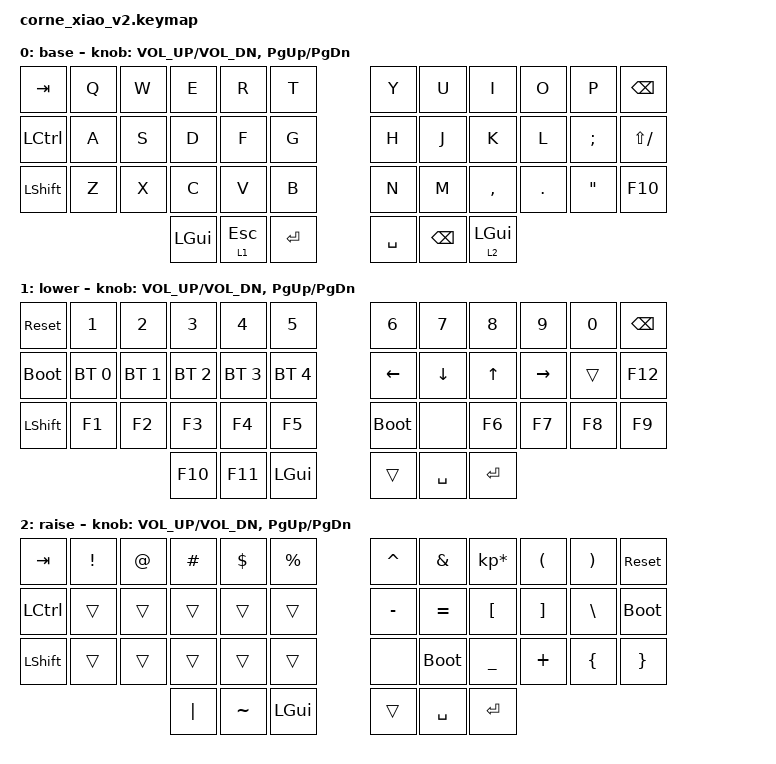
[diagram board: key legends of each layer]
#include <behaviors.dtsi>
#include <dt-bindings/zmk/bt.h>
#include <dt-bindings/zmk/keys.h>

/ {
    combos {
        compatible = "zmk,combos";

        combo_studio_unlock {
            timeout-ms = <50>;
            key-positions = <0 1>;
            bindings = <&studio_unlock>;
        };
    };
};

/ {
    keymap {
        compatible = "zmk,keymap";

        default_layer {
            display-name = "base";
            sensor-bindings = <&inc_dec_kp C_VOL_UP C_VOL_DN &inc_dec_kp PG_UP PG_DN>;

            // -------------------------------------------------------------------------------------------------
            // |  TAB |  Q  |  W  |  E  |  R  |  T  |                    |  Y  |  U   |  I  |  O  |  P  | BKSP |
            // | CTRL |  A  |  S  |  D  |  F  |  G  |                    |  H  |  J   |  K  |  L  |  ;  |  '   |
            // | SHFT |  Z  |  X  |  C  |  V  |  B  |  MUTE  |  |        |  N  |  M   |  ,  |  .  |  /  | ESC  |
            //                    | GUI | LWR | SPC |                    | ENT | RSE  | ALT |

            bindings = <
&kp TAB    &kp Q  &kp W  &kp E         &kp R         &kp T      &kp Y      &kp U          &kp I           &kp O       &kp P              &kp BSPC
&kp LCTRL  &kp A  &kp S  &kp D         &kp F         &kp G      &kp H      &kp J          &kp K           &kp L       &kp SEMI           &kp LS(SLASH)
&kp LSHFT  &kp Z  &kp X  &kp C         &kp V         &kp B      &kp N      &kp M          &kp COMMA       &kp PERIOD  &kp DOUBLE_QUOTES  &kp F10
                         &kp LEFT_GUI  &lt 1 ESCAPE  &kp RET    &kp SPACE  &kp BACKSPACE  &lt 2 LEFT_GUI
            >;
        };

        lower_layer {
            display-name = "lower";
            sensor-bindings = <&inc_dec_kp C_VOL_UP C_VOL_DN &inc_dec_kp PG_UP PG_DN>;

            // ------------------------------------------------------------------------------------------------
            // |  TAB |  1  |  2  |  3  |  4  |  5  |                    |  6  |  7  |  8  |  9  |  0  | BKSP |
            // | BTCLR| BT1 | BT2 | BT3 | BT4 | BT5 |                    | LFT | DWN |  UP | RGT |     |  F12 |
            // | SHFT | F1  | F2  | F3  | F4  | F5  |  boot  |  |        |  F6 | F7  | F8  | F9  | F10 |  F11 |
            //                    | GUI |     | SPC |                    | ENT |     | ALT |

            bindings = <
&sys_reset   &kp N1        &kp N2        &kp N3        &kp N4        &kp N5          &kp N6       &kp N7     &kp N8   &kp N9     &kp N0  &kp BSPC
&bootloader  &bt BT_SEL 0  &bt BT_SEL 1  &bt BT_SEL 2  &bt BT_SEL 3  &bt BT_SEL 4    &kp LEFT     &kp DOWN   &kp UP   &kp RIGHT  &trans  &kp F12
&kp LSHFT    &kp F1        &kp F2        &kp F3        &kp F4        &kp F5          &bootloader  &none      &kp F6   &kp F7     &kp F8  &kp F9
                                         &kp F10       &kp F11       &kp LGUI        &trans       &kp SPACE  &kp RET
            >;
        };

        raise_layer {
            display-name = "raise";
            sensor-bindings = <&inc_dec_kp C_VOL_UP C_VOL_DN &inc_dec_kp PG_UP PG_DN>;

            // ------------------------------------------------------------------------------------------------
            // |  TAB |  !  |  @  |  #  |  $  |  %  |                    |  ^  |  &  |  *  |  (  |  )  | BKSP |
            // | CTRL |     |     |     |     |     |                    |  -  |  =  |  [  |  ]  |  \  |  `   |
            // | SHFT |     |     |     |     |     |        |  |  boot  |  _  |  +  |  {  |  }  | "|" |  ~   |
            //                    | GUI |     | SPC |                    | ENT |     | ALT |

            bindings = <
&kp TAB    &kp EXCL  &kp AT  &kp HASH  &kp DLLR   &kp PRCNT    &kp CARET  &kp AMPS     &kp KP_MULTIPLY  &kp LPAR  &kp RPAR  &sys_reset
&kp LCTRL  &trans    &trans  &trans    &trans     &trans       &kp MINUS  &kp EQUAL    &kp LBKT         &kp RBKT  &kp BSLH  &bootloader
&kp LSHFT  &trans    &trans  &trans    &trans     &trans       &none      &bootloader  &kp UNDER        &kp PLUS  &kp LBRC  &kp RBRC
                             &kp PIPE  &kp TILDE  &kp LGUI     &trans     &kp SPACE    &kp RET
            >;
        };

        extra1 {
            display-name = "extra1";
            status = "reserved";
        };

        extra2 {
            display-name = "extra2";
            status = "reserved";
        };
    };
};
